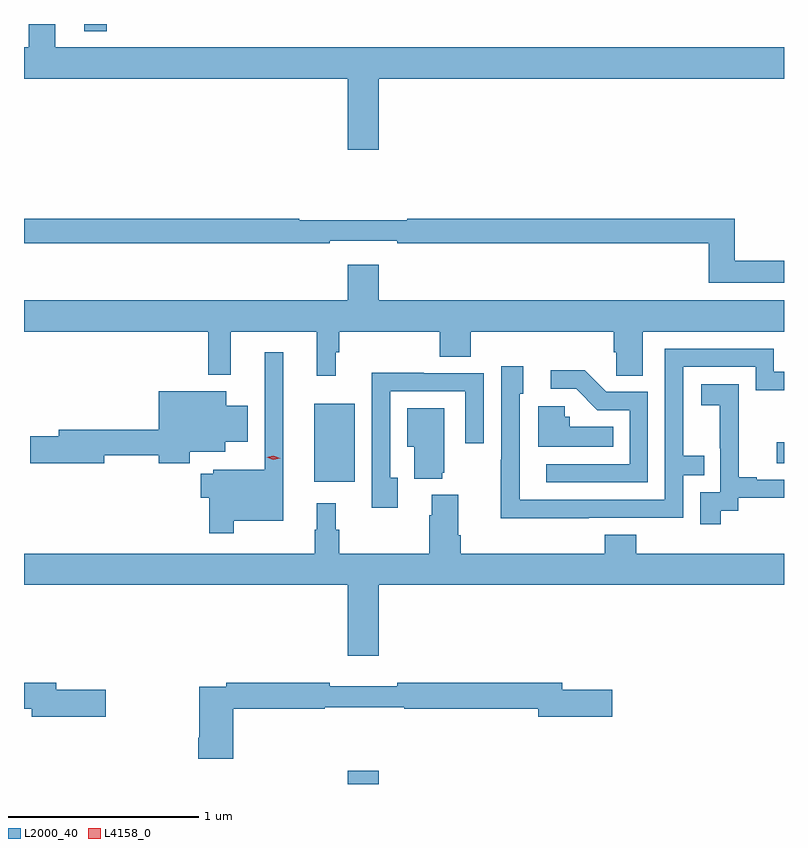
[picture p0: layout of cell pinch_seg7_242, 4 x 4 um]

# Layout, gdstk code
import gdstk
lib = gdstk.Library(unit=1e-6, precision=1e-09)
def R(c, l, rs):  # rectangles x0, y0, x1, y1
    for r in rs: c.add(gdstk.rectangle(r[:2], r[2:], *l))
def P(c, l, *ps):  # polygons
    for p in ps: c.add(gdstk.Polygon(p, *l))
L2000_40 = (2000, 40)
L4158_0 = (4158, 0)

pinch_seg7_242 = lib.new_cell('pinch_seg7_242')
R(pinch_seg7_242, L2000_40, [(824.348,1054.179,824.512,1054.249), (824.171,1055.771,824.386,1056.181), (826.605,1055.868,826.644,1055.977), (822.962,1058.141,823.079,1058.179)])
P(pinch_seg7_242, L2000_40, [(824.512,1057.892),(826.644,1057.892),(826.644,1058.056),(822.808,1058.056),(822.808,1058.179),(822.668,1058.179),(822.668,1058.056),(822.644,1058.056),(822.644,1057.892),(824.348,1057.892),(824.348,1057.518),(824.512,1057.518)],
  [(826.644,1056.932),(826.385,1056.932),(826.385,1057.154),(824.662,1057.154),(824.662,1057.147),(824.092,1057.147),(824.092,1057.154),(822.644,1057.154),(822.644,1057.026),(824.252,1057.026),(824.252,1057.038),(824.608,1057.038),(824.608,1057.026),(826.249,1057.026),(826.249,1056.816),(826.644,1056.816)],
  [(824.285,1056.452),(824.303,1056.452),(824.303,1056.56),(824.831,1056.56),(824.831,1056.427),(824.996,1056.427),(824.996,1056.56),(825.749,1056.56),(825.749,1056.451),(825.762,1056.451),(825.762,1056.328),(825.901,1056.328),(825.901,1056.56),(826.644,1056.56),(826.644,1056.724),(824.512,1056.724),(824.512,1056.913),(824.348,1056.913),(824.348,1056.724),(822.644,1056.724),(822.644,1056.56),(823.615,1056.56),(823.615,1056.332),(823.733,1056.332),(823.733,1056.56),(824.186,1056.56),(824.186,1056.327),(824.285,1056.327)],
  [(825.617,1055.58),(826.113,1055.58),(826.113,1055.805),(826.223,1055.805),(826.223,1055.906),(826.113,1055.906),(826.113,1056.375),(826.494,1056.375),(826.494,1056.252),(826.644,1056.252),(826.644,1056.348),(826.591,1056.348),(826.591,1056.471),(826.017,1056.471),(826.017,1055.676),(825.253,1055.676),(825.253,1055.897),(825.252,1055.897),(825.252,1056.234),(825.271,1056.234),(825.271,1056.379),(825.156,1056.379),(825.156,1055.885),(825.154,1055.885),(825.154,1055.579),(825.617,1055.579)],
  [(823.747,1055.564),(824.008,1055.564),(824.008,1056.451),(823.911,1056.451),(823.911,1055.833),(823.641,1055.833),(823.641,1055.813),(823.575,1055.813),(823.575,1055.686),(823.618,1055.686),(823.618,1055.499),(823.747,1055.499)],
  [(825.927,1056.243),(825.708,1056.243),(825.595,1056.356),(825.417,1056.356),(825.417,1056.258),(825.551,1056.258),(825.662,1056.147),(825.831,1056.147),(825.831,1055.862),(825.393,1055.862),(825.393,1055.766),(825.927,1055.766)],
  [(824.611,1055.79),(824.571,1055.79),(824.571,1056.246),(824.967,1056.246),(824.967,1055.973),(825.063,1055.973),(825.063,1056.342),(824.747,1056.342),(824.747,1056.344),(824.475,1056.344),(824.475,1055.634),(824.611,1055.634)],
  [(826.312,1055.617),(826.404,1055.617),(826.404,1055.685),(826.644,1055.685),(826.644,1055.781),(826.501,1055.781),(826.501,1055.794),(826.406,1055.794),(826.406,1056.077),(826.407,1056.077),(826.407,1056.283),(826.209,1056.283),(826.209,1056.173),(826.307,1056.173),(826.307,1055.945),(826.308,1055.945),(826.308,1055.715),(826.203,1055.715),(826.203,1055.547),(826.312,1055.547)],
  [(823.066,1055.908),(823.352,1055.908),(823.352,1055.868),(823.516,1055.868),(823.516,1055.927),(823.702,1055.927),(823.702,1055.981),(823.822,1055.981),(823.822,1056.169),(823.708,1056.169),(823.708,1056.247),(823.352,1056.247),(823.352,1056.044),(822.827,1056.044),(822.827,1056.008),(822.678,1056.008),(822.678,1055.866),(823.066,1055.866)],
  [(825.746,1056.058),(825.516,1056.058),(825.516,1056.111),(825.489,1056.111),(825.489,1056.166),(825.35,1056.166),(825.35,1055.954),(825.746,1055.954)],
  [(824.846,1055.817),(824.857,1055.817),(824.857,1056.157),(824.66,1056.157),(824.66,1055.954),(824.699,1055.954),(824.699,1055.786),(824.846,1055.786)],
  [(824.512,1055.228),(826.644,1055.228),(826.644,1055.392),(825.866,1055.392),(825.866,1055.491),(825.701,1055.491),(825.701,1055.392),(824.942,1055.392),(824.942,1055.488),(824.929,1055.488),(824.929,1055.701),(824.789,1055.701),(824.789,1055.594),(824.777,1055.594),(824.777,1055.392),(824.303,1055.392),(824.303,1055.516),(824.285,1055.516),(824.285,1055.656),(824.186,1055.656),(824.186,1055.516),(824.175,1055.516),(824.175,1055.392),(822.644,1055.392),(822.644,1055.228),(824.348,1055.228),(824.348,1054.854),(824.512,1054.854)],
  [(823.075,1054.676),(822.814,1054.676),(822.814,1054.712),(822.644,1054.712),(822.644,1054.576),(822.686,1054.576),(822.686,1054.534),(823.075,1054.534)],
  [(823.745,1054.576),(824.228,1054.576),(824.228,1054.584),(824.645,1054.584),(824.645,1054.576),(825.35,1054.576),(825.35,1054.534),(825.739,1054.534),(825.739,1054.676),(825.478,1054.676),(825.478,1054.712),(824.608,1054.712),(824.608,1054.693),(824.252,1054.693),(824.252,1054.712),(823.708,1054.712),(823.708,1054.692),(823.567,1054.692),(823.567,1054.423),(823.562,1054.423),(823.562,1054.311),(823.745,1054.311)])
P(pinch_seg7_242, L4158_0, [(823.956,1055.886),(823.922,1055.898),(823.922,1055.898),(823.922,1055.898),(823.957,1055.906),(823.992,1055.894),(823.992,1055.894),(823.992,1055.894)])

lib.write_gds('pinch_seg7_242.gds')
